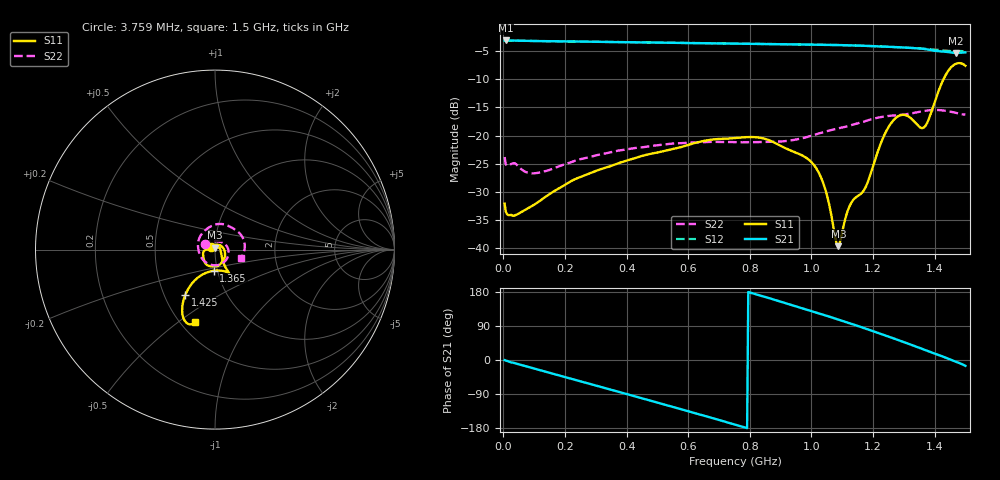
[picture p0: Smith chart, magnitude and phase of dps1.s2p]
! ZVRE, 3.52
! symbol freq-unit parameter-type data-format keyword impedance-ohm
#  HZ  S  RI  R  50
! freq  reS11  imS11  reS21  imS21  reS12  imS12  reS22  imS22
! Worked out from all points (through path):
!   400 points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, 3.759 MHz to 1.5 GHz, reference 50 ohm
!   highest |S21| = -3.10 dB at 7.509 MHz (marker M1); lowest = -5.3 dB at 1.47 GHz (marker M2)
!   group delay of S21, straight-line fit = 678 ps
!   lowest |S11| = -39.6 dB at 1.088 GHz (marker M3), VSWR 1.02, Z = 49.9 + j1.03 ohm
!   |S11| at or under -10 dB: start of sweep to 1.429 GHz
!   |S22| runs from -26.7 to -15.5 dB; largest |S21 - S12| = 0.022
!   S11 on the Smith chart (normalised r, x): 3.759 MHz: 0.96, +0.02; 1.365 GHz: 0.96, -0.23; 1.425 GHz: 0.64, -0.35; 1.5 GHz: 0.59, -0.58
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3758978  -0.0216 0.0124  0.699 -0.0037  0.6986 -0.00314  -0.0558 0.0325
7508955  -0.0191 0.00909  0.6992 -0.0174  0.6982 -0.0173  -0.0507 0.0229
3.37588e7  -0.0149 0.0126  0.6913 -0.0926  0.6904 -0.093  -0.0386 0.0418
9.750842e7  -0.00122 0.0242  0.6412 -0.2599  0.6402 -0.2605  0.00709 0.0457
2.550075e8  0.0407 0.0152  0.3681 -0.5745  0.3683 -0.5755  0.0529 0.0329
3.787567e8  0.0553 -0.0161  0.0577 -0.6738  0.0575 -0.674  0.0739 0.000397
5.02506e8  0.0517 -0.0488  -0.2617 -0.6157  -0.2624 -0.6162  0.0704 -0.0425
6.412552e8  0.0259 -0.0847  -0.5387 -0.3823  -0.5411 -0.3822  0.0318 -0.0814
7.537545e8  -0.0168 -0.0937  -0.6466 -0.1045  -0.6479 -0.1029  -0.0205 -0.085
8.775037e8  -0.0596 -0.0638  -0.6085 0.2262  -0.6086 0.2273  -0.0759 -0.0448
1.001253e9  -0.0575 -0.00459  -0.4039 0.499  -0.4042 0.4998  -0.0947 0.0321
1.042503e9  -0.035 0.00345  -0.3051 0.563  -0.3048 0.5632  -0.0879 0.0628
1.080003e9  -0.00686 0.00927  -0.2044 0.6039  -0.2032 0.6041  -0.0729 0.0886
1.087502e9  -0.0013 0.0104  -0.1829 0.61  -0.1817 0.6102  -0.0692 0.0931
1.121252e9  0.0192 0.0121  -0.0852 0.6278  -0.0848 0.6274  -0.0509 0.111
1.177502e9  0.0329 -0.0137  0.0829 0.6206  0.0824 0.6212  -0.0132 0.1345
1.252501e9  0.0619 -0.1048  0.2968 0.5374  0.2941 0.5395  0.0551 0.1394
1.297501e9  0.0788 -0.1312  0.4051 0.4514  0.4048 0.453  0.0908 0.1238
1.365001e9  -0.00653 -0.1178  0.521 0.2734  0.5226 0.2755  0.1408 0.0867
1.425e9  -0.1648 -0.2509  0.5506 0.0927  0.5636 0.0909  0.1658 0.0242
1.47e9  -0.1633 -0.4029  0.5398 -0.0452  0.5614 -0.047  0.1574 -0.0235
1.5e9  -0.1095 -0.402  0.5291 -0.1449  0.5382 -0.1526  0.1474 -0.0447
